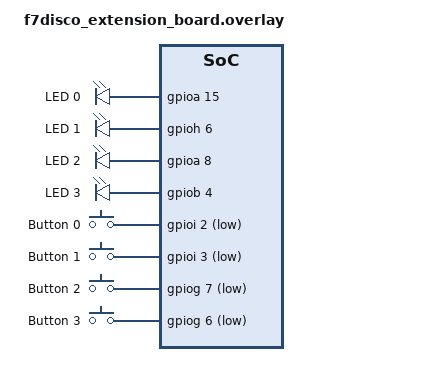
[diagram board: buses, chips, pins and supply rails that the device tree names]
/*
 * Copyright (c) 2024 HES-SO Valais, ECS, Sion
 *
 * SPDX-License-Identifier: Apache-2.0
 */

/ {
    leds {
        compatible = "gpio-leds";

        ext_led0: ext_led0 {
            gpios = <&gpioa 15 GPIO_ACTIVE_HIGH>;
            label = "LED 0";
        };

        ext_led1: ext_led1 {
            gpios = <&gpioh 6 GPIO_ACTIVE_HIGH>;
            label = "LED 1";
        };

        ext_led2: ext_led2 {
            gpios = <&gpioa 8 GPIO_ACTIVE_HIGH>;
            label = "LED 2";
        };

        ext_led3: ext_led3 {
            gpios = <&gpiob 4 GPIO_ACTIVE_HIGH>;
            label = "LED 3";
        };
    };

    buttons {
        compatible = "gpio-keys";
        #address-cells = <1>;
        #size-cells = <0>;

        ext_btn0: ext_btn0 {
            gpios = <&gpioi 2 (GPIO_PULL_UP | GPIO_ACTIVE_LOW)>;
            label = "Button 0";
        };

        ext_btn1: ext_btn1 {
            gpios = <&gpioi 3 (GPIO_PULL_UP | GPIO_ACTIVE_LOW)>;
            label = "Button 1";
        };

        ext_btn2: ext_btn2 {
            gpios = <&gpiog 7 (GPIO_PULL_UP | GPIO_ACTIVE_LOW)>;
            label = "Button 2";
        };

        ext_btn3: ext_btn3 {
            gpios = <&gpiog 6 (GPIO_PULL_UP | GPIO_ACTIVE_LOW)>;
            label = "Button 3";
        };
    
    };

    aliases {
        ext-led0 = &ext_led0;
        ext-led1 = &ext_led1;
        ext-led2 = &ext_led2;
        ext-led3 = &ext_led3;
        
        ext-btn0 = &ext_btn0;
        ext-btn1 = &ext_btn1;
        ext-btn2 = &ext_btn2;
        ext-btn3 = &ext_btn3;
    };
};
